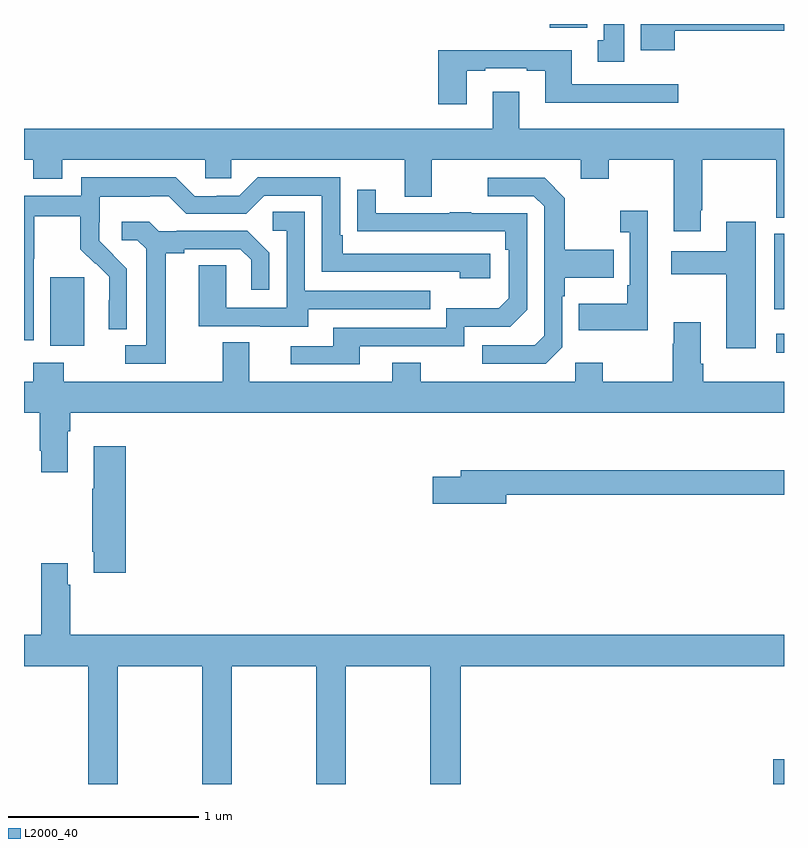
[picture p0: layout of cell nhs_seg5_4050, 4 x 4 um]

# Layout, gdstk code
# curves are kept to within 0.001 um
import gdstk
lib = gdstk.Library(unit=1e-6, precision=1e-09)
def R(c, l, rs):  # rectangles x0, y0, x1, y1
    for r in rs: c.add(gdstk.rectangle(r[:2], r[2:], *l))
def P(c, l, *ps):  # polygons
    for p in ps: c.add(gdstk.Polygon(p, *l))
L2000_40 = (2000, 40)

nhs_seg5_4050 = lib.new_cell('nhs_seg5_4050')
R(nhs_seg5_4050, L2000_40, [(352.944,862.799,353,862.928), (352.959,865.07,353,865.168), (349.139,865.106,349.318,865.467), (352.949,865.299,353,865.695), (351.767,866.78,351.964,866.799)])
P(nhs_seg5_4050, L2000_40, [(352.426,866.764),(353,866.764),(353,866.799),(352.247,866.799),(352.247,866.66),(352.426,866.66)],
  [(352.159,866.799),(352.052,866.799),(352.052,866.714),(352.019,866.714),(352.019,866.601),(352.159,866.601)],
  [(351.331,866.553),(351.427,866.553),(351.427,866.565),(351.647,866.565),(351.647,866.553),(351.743,866.553),(351.743,866.384),(352.444,866.384),(352.444,866.481),(351.883,866.481),(351.883,866.662),(351.179,866.662),(351.179,866.376),(351.331,866.376)],
  [(351.467,866.443),(351.467,866.248),(349,866.248),(349,866.084),(349.049,866.084),(349.049,865.985),(349.201,865.985),(349.201,866.084),(349.953,866.084),(349.953,865.986),(350.091,865.986),(350.091,866.084),(351.005,866.084),(351.005,865.89),(351.145,865.89),(351.145,866.084),(351.929,866.084),(351.929,865.985),(352.077,865.985),(352.077,866.084),(352.421,866.084),(352.421,865.707),(352.561,865.707),(352.561,865.819),(352.569,865.819),(352.569,866.084),(352.96,866.084),(352.96,865.78),(353,865.78),(353,866.248),(351.607,866.248),(351.607,866.443)],
  [(349.05,865.564),(349.053,865.564),(349.053,865.788),(349.297,865.788),(349.297,865.613),(349.374,865.536),(349.377,865.539),(349.448,865.469),(349.448,865.346),(349.446,865.346),(349.446,865.192),(349.542,865.192),(349.542,865.51),(349.396,865.658),(349.396,865.755),(349.398,865.755),(349.398,865.889),(349.661,865.889),(349.661,865.893),(349.761,865.893),(349.854,865.8),(350.169,865.8),(350.265,865.896),(350.568,865.896),(350.568,865.494),(351.293,865.494),(351.293,865.46),(351.454,865.46),(351.454,865.59),(350.677,865.59),(350.677,865.687),(350.664,865.687),(350.664,865.992),(350.229,865.992),(350.133,865.896),(350.015,865.896),(350.015,865.893),(349.899,865.893),(349.799,865.993),(349.302,865.993),(349.302,865.896),(349,865.896),(349,865.135),(349.05,865.135)],
  [(351.834,865.098),(351.834,865.367),(351.847,865.367),(351.847,865.463),(352.103,865.463),(352.103,865.611),(351.847,865.611),(351.847,865.883),(351.741,865.989),(351.441,865.989),(351.441,865.893),(351.684,865.893),(351.738,865.839),(351.738,865.158),(351.687,865.107),(351.411,865.107),(351.411,865.011),(351.747,865.011)],
  [(350.767,865.104),(351.318,865.104),(351.318,865.206),(351.558,865.206),(351.648,865.296),(351.648,865.803),(351.353,865.803),(351.353,865.808),(351.241,865.808),(351.241,865.803),(350.851,865.803),(350.851,865.927),(350.755,865.927),(350.755,865.708),(351.532,865.707),(351.532,865.61),(351.552,865.61),(351.552,865.356),(351.499,865.303),(351.222,865.303),(351.222,865.2),(350.627,865.2),(350.627,865.104),(350.403,865.104),(350.403,865.008),(350.767,865.008)],
  [(352.284,865.816),(352.137,865.816),(352.137,865.703),(352.188,865.703),(352.188,865.423),(352.176,865.423),(352.176,865.327),(351.919,865.327),(351.919,865.187),(352.284,865.187)],
  [(350.497,865.299),(351.137,865.299),(351.137,865.395),(350.478,865.395),(350.478,865.811),(350.31,865.811),(350.31,865.71),(350.382,865.71),(350.382,865.305),(350.064,865.305),(350.064,865.529),(349.919,865.529),(349.919,865.209),(350.243,865.209),(350.243,865.205),(350.497,865.205)],
  [(349.747,865.592),(349.843,865.592),(349.843,865.614),(350.138,865.614),(350.195,865.557),(350.195,865.401),(350.292,865.401),(350.292,865.594),(350.176,865.71),(349.804,865.71),(349.804,865.707),(349.71,865.707),(349.658,865.759),(349.515,865.759),(349.515,865.662),(349.596,865.662),(349.643,865.615),(349.643,865.107),(349.533,865.107),(349.533,865.011),(349.747,865.011)],
  [(352.852,865.759),(352.697,865.759),(352.697,865.603),(352.407,865.603),(352.407,865.481),(352.697,865.481),(352.697,865.092),(352.852,865.092)],
  [(349.231,864.656),(349.244,864.656),(349.244,864.752),(353,864.752),(353,864.916),(352.574,864.916),(352.574,865.012),(352.561,865.012),(352.561,865.228),(352.421,865.228),(352.421,865.115),(352.414,865.115),(352.414,864.916),(352.047,864.916),(352.047,865.015),(351.9,865.015),(351.9,864.916),(351.087,864.916),(351.087,865.015),(350.939,865.015),(350.939,864.916),(350.185,864.916),(350.185,865.124),(350.045,865.124),(350.045,864.916),(349.209,864.916),(349.209,865.015),(349.049,865.015),(349.049,864.916),(349,864.916),(349,864.752),(349.084,864.752),(349.084,864.553),(349.091,864.553),(349.091,864.441),(349.231,864.441)],
  [(349.535,864.577),(349.367,864.577),(349.367,864.353),(349.36,864.353),(349.36,864.022),(349.367,864.022),(349.367,863.91),(349.535,863.91)],
  [(351.538,864.322),(353,864.322),(353,864.451),(351.299,864.451),(351.299,864.417),(351.15,864.417),(351.15,864.275),(351.538,864.275)],
  [(349.494,863.42),(349.939,863.42),(349.939,862.799),(350.094,862.799),(350.094,863.42),(350.539,863.42),(350.539,862.799),(350.694,862.799),(350.694,863.42),(351.139,863.42),(351.139,862.799),(351.299,862.799),(351.299,863.42),(353,863.42),(353,863.584),(349.244,863.584),(349.244,863.849),(349.231,863.849),(349.231,863.962),(349.091,863.962),(349.091,863.584),(349,863.584),(349,863.42),(349.339,863.42),(349.339,862.799),(349.494,862.799)])

lib.write_gds('nhs_seg5_4050.gds')
